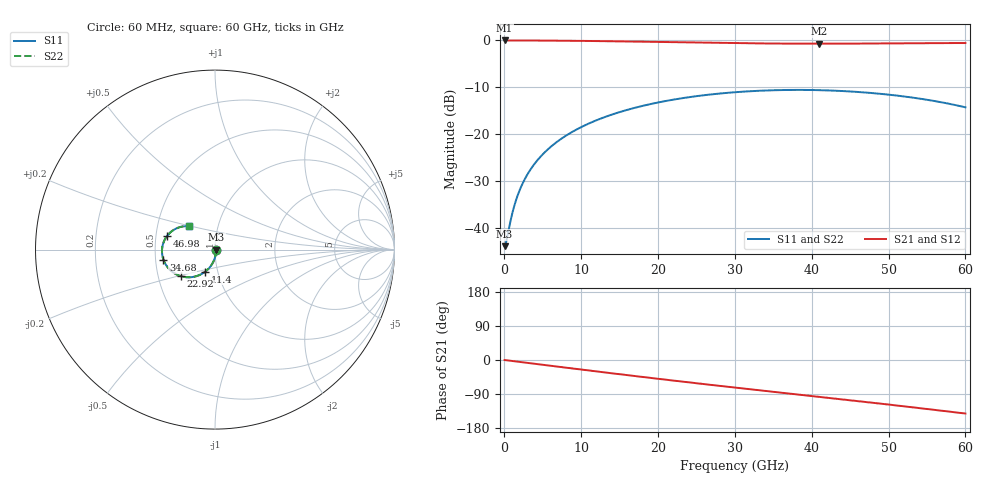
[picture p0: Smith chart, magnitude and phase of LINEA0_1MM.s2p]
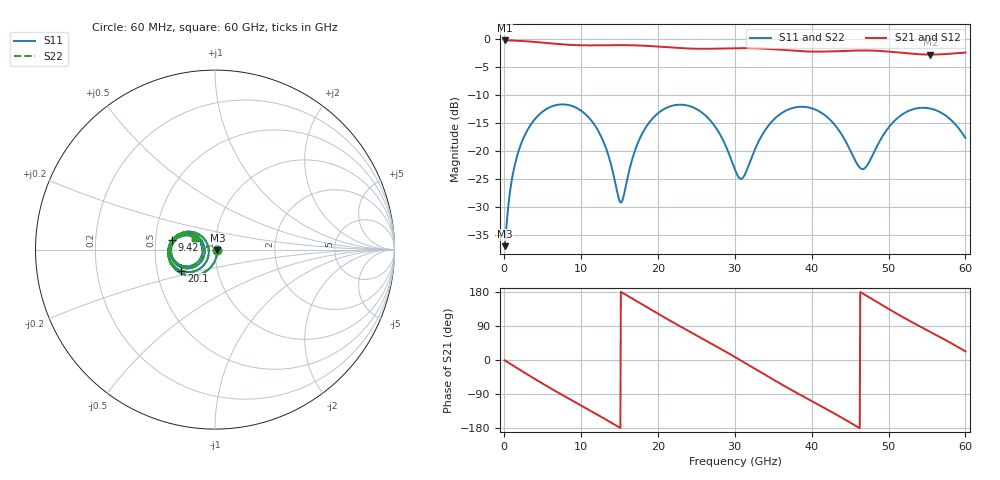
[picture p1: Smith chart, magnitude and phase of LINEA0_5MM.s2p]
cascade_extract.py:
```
import numpy as np
c=299792458;R0=50
def load(fn):
    d=np.loadtxt(fn,comments=['!','#'])
    f=d[:,0]*1e9;S=np.zeros((len(f),2,2),complex)
    for k,(i,j) in enumerate([(0,0),(1,0),(0,1),(1,1)]):
        S[:,i,j]=d[:,1+2*k]*np.exp(1j*np.deg2rad(d[:,2+2*k]))
    return f,S
def s2abcd(S):
    s11,s12,s21,s22=S[:,0,0],S[:,0,1],S[:,1,0],S[:,1,1]
    A=((1+s11)*(1-s22)+s12*s21)/(2*s21);B=R0*((1+s11)*(1+s22)-s12*s21)/(2*s21)
    C=((1-s11)*(1-s22)-s12*s21)/(2*s21)/R0;D=((1-s11)*(1+s22)+s12*s21)/(2*s21)
    return np.stack([np.stack([A,B],-1),np.stack([C,D],-1)],-2)
def abcd2s(T):
    A,B,C,D=T[:,0,0],T[:,0,1],T[:,1,0],T[:,1,1];den=A+B/R0+C*R0+D
    S=np.empty_like(T);S[:,0,0]=(A+B/R0-C*R0-D)/den;S[:,0,1]=2*(A*D-B*C)/den
    S[:,1,0]=2/den;S[:,1,1]=(-A+B/R0-C*R0+D)/den;return S
def gz(T,L,f):
    A=(T[:,0,0]+T[:,1,1])/2;g=np.arccosh(A)
    # unwrap beta continuously
    b=np.unwrap(np.imag(g)*1)  # imag in [0,pi]
    g=np.real(g)+1j*np.imag(g)
    Z=np.sqrt(T[:,0,1]/T[:,1,0]); Z=np.where(Z.real<0,-Z,Z)
    return g,Z
f,S1=load('LINEA0_1MM.s2p');f5,S5=load('LINEA0_5MM.s2p');assert np.allclose(f,f5)
T1=s2abcd(S1);T5=s2abcd(S5)
T15=np.linalg.matrix_power(T1,5);S15=abcd2s(T15)
db=lambda x:20*np.log10(abs(x))
ang=lambda x:np.rad2deg(np.unwrap(np.angle(x)))
idx=[np.argmin(abs(f-x*1e9)) for x in [0,1,5,10,20,30,40,50,60]]
print('f  |S21|5mm dB  cascade  d  | S11 5mm dB cascade | phase21 5mm casc')
for i in idx:
    print(f"{f[i]/1e9:4.0f} {db(S5[i,1,0]):8.3f} {db(S15[i,1,0]):8.3f} {db(S15[i,1,0])-db(S5[i,1,0]):7.3f} | {db(S5[i,0,0]):7.2f} {db(S15[i,0,0]):7.2f} | {ang(S5[:,1,0])[i]:9.2f} {ang(S15[:,1,0])[i]:9.2f}")
# extraction per length: alpha and nm via cosh, with phase unwrap by continuity: beta*L = unwrapped -angle of e^{-gamma L} from eigen
def ext(T,L):
    A=(T[:,0,0]+T[:,1,1])/2
    # eigenvalue e^{-gL}: lam = A - sqrt(A^2-1), choose |lam|<1
    r=np.sqrt(A*A-1+0j);lam=A-r;lam=np.where(abs(lam)>1,A+r,lam)
    ph=np.unwrap(np.angle(lam));al=-np.log(abs(lam))/L;be=-ph/L
    Z=np.sqrt(T[:,0,1]/T[:,1,0]);Z=np.where(Z.real<0,-Z,Z)
    return al,be,Z
w=2*np.pi*f
for nm,T,L in [('1mm',T1,1e-3),('5mm',T5,5e-3),('2len',np.linalg.solve(T1,T5),4e-3)]:
    al,be,Z=ext(T,L)
    print(nm,'f a(dB/cm) nm Zc')
    for i in idx[1:]:
        print(f"  {f[i]/1e9:4.0f} {al[i]*8.686/100:6.3f} {be[i]*c/w[i]:7.4f} {Z[i].real:6.2f}{Z[i].imag:+6.2f}j")
from scipy.signal import argrelmin
for nm,S,L in [('1mm',S1,1e-3),('5mm',S5,5e-3)]:
    m=argrelmin(db(S[:,0,0]),order=20)[0]
    print(nm,'S11 minima GHz',np.round(f[m]/1e9,2),'dB',np.round(db(S[m,0,0]),1))
    fm=f[m]; print('  n from f_m = m c/(2 n L):',[round(k*c/(2*L*x),4) for k,x in enumerate(fm,1)])
    if len(fm)>1: print('  n from spacing:',np.round(c/(2*L*np.diff(fm)),4))
```
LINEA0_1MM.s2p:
! TOUCHSTONE file generated by CST MICROWAVE STUDIO
! Date and time: Tue Oct 13 10:02:14 2026
! Project name: LINEA0_1MM.cst
! Parameters = {GAP=0.00415; L=1; L1=0.02; L2=0.086; L3=0.066; NCELL=1; PITCH=0.18; START_POSITION=0.08; W1=0.003; W2=0.004; W3=0.009; WG=0.04985; gap_oxr=0.00125; linbo3_thickness=0.0002; mtx=0.002; oxiDinE=0.0014; w=0.15; ws=0.035}
! Header version: 2024
! Port assignment regex: !\s*Touchstone port\s*([0-9]+)\s*=\s*(CST MWS port|CST DES external port|CST DES block port)\s*(.+)\s* \(\"(.*)\"\)(\s*mode\s*([0-9]+))?.*
! Touchstone port assignment:
! Touchstone port 1 = CST MWS port 1 ("")
! Touchstone port 2 = CST MWS port 2 ("")
# GHz S MA R 50
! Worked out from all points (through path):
!   1000 points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, 60 MHz to 60 GHz, reference 50 ohm
!   highest |S21| = -0.07 dB at 60 MHz (marker M1); lowest = -0.8 dB at 40.98 GHz (marker M2)
!   group delay of S21, straight-line fit = 6.45 ps
!   lowest |S11| = -43.8 dB at 60 MHz (marker M3), VSWR 1.01, Z = 50.6 - j0.0756 ohm
!   |S11| at or under -10 dB: start of sweep to end of sweep
!   |S22| runs from -43.8 to -10.6 dB; largest |S21 - S12| = 1.7e-06
!   S11 on the Smith chart (normalised r, x): 60 MHz: 1.01, -0.00; 11.4 GHz: 0.87, -0.22; 22.92 GHz: 0.66, -0.21; 34.68 GHz: 0.55, -0.07; 46.98 GHz: 0.57, +0.10; 60 GHz: 0.73, +0.20
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0.06  0.006443 -6.7  0.9921 -0.2  0.9921 -0.2  0.006443 -6.7
1.74  0.02213 -77.2  0.9918 -4.4  0.9918 -4.4  0.02213 -77.2
3.72  0.04561 -90.6  0.9907 -9.4  0.9907 -9.4  0.04561 -90.6
6.9  0.08321 -101.6  0.9872 -17.4  0.9872 -17.4  0.08321 -101.6
11.4  0.134 -113.8  0.9791 -28.6  0.9791 -28.6  0.134 -113.8
22.92  0.2397 -141.6  0.9479 -56.4  0.9479 -56.4  0.2397 -141.6
30.06  0.2795 -158.3  0.9291 -72.9  0.9291 -72.9  0.2795 -158.3
34.68  0.2926 -168.9  0.9207 -83.2  0.9207 -83.2  0.2926 -168.9
40.98  0.2938 177.0  0.9164 -97.2  0.9164 -97.2  0.2938 177.0
46.98  0.2774 163.9  0.9197 -110.6  0.9197 -110.6  0.2774 163.9
60  0.1931 137.7  0.9312 -141.3  0.9312 -141.3  0.1931 137.7
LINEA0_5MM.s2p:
! TOUCHSTONE file generated by CST MICROWAVE STUDIO
! Date and time: Tue Oct 13 11:58:45 2026
! Project name: LINEA0_5MM.cst
! Parameters = {GAP=0.00415; L=5; L1=0.02; L2=0.086; L3=0.066; NCELL=13; PITCH=0.18; START_POSITION=0.08; W1=0.003; W2=0.004; W3=0.009; WG=0.04985; gap_oxr=0.00125; linbo3_thickness=0.0002; mtx=0.002; oxiDinE=0.0014; w=0.15; ws=0.035}
! Header version: 2024
! Port assignment regex: !\s*Touchstone port\s*([0-9]+)\s*=\s*(CST MWS port|CST DES external port|CST DES block port)\s*(.+)\s* \(\"(.*)\"\)(\s*mode\s*([0-9]+))?.*
! Touchstone port assignment:
! Touchstone port 1 = CST MWS port 1 ("")
! Touchstone port 2 = CST MWS port 2 ("")
# GHz S MA R 50
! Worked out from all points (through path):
!   1000 points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, 60 MHz to 60 GHz, reference 50 ohm
!   highest |S21| = -0.19 dB at 60 MHz (marker M1); lowest = -2.7 dB at 55.44 GHz (marker M2)
!   group delay of S21, straight-line fit = 32.2 ps
!   lowest |S11| = -36.9 dB at 60 MHz (marker M3), VSWR 1.03, Z = 51.4 - j0.352 ohm
!   |S11| at or under -10 dB: start of sweep to end of sweep
!   |S22| runs from -36.9 to -11.6 dB; largest |S21 - S12| = 2e-06
!   S11 on the Smith chart (normalised r, x): 60 MHz: 1.03, -0.01; 9.42 GHz: 0.61, +0.07; 20.1 GHz: 0.67, -0.17; 60 GHz: 0.79, +0.11
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0.06  0.01421 -14.0  0.978 -0.8  0.978 -0.8  0.01421 -14.0
3  0.1534 -119.0  0.9603 -37.9  0.9603 -37.9  0.1534 -119.0
9.42  0.244 167.2  0.8885 -113.4  0.8885 -113.4  0.244 167.2
15.18  0.03488 -175.7  0.8885 179.9  0.8885 179.9  0.03488 -175.7
20.1  0.2212 -147.7  0.8616 121.0  0.8616 121.0  0.2212 -147.7
24.78  0.2434 167.8  0.8256 67.8  0.8256 67.8  0.2434 167.8
30.06  0.06779 157.3  0.8338 7.4  0.8338 7.4  0.06779 157.3
37.62  0.2447 -167.3  0.7919 -81.8  0.7919 -81.8  0.2447 -167.3
45.66  0.08303 158.3  0.7949 -172.8  0.7949 -172.8  0.08303 158.3
55.44  0.2411 174.8  0.7315 74.2  0.7315 74.2  0.2411 174.8
60  0.1317 150.1  0.7623 22.8  0.7623 22.8  0.1317 150.1
